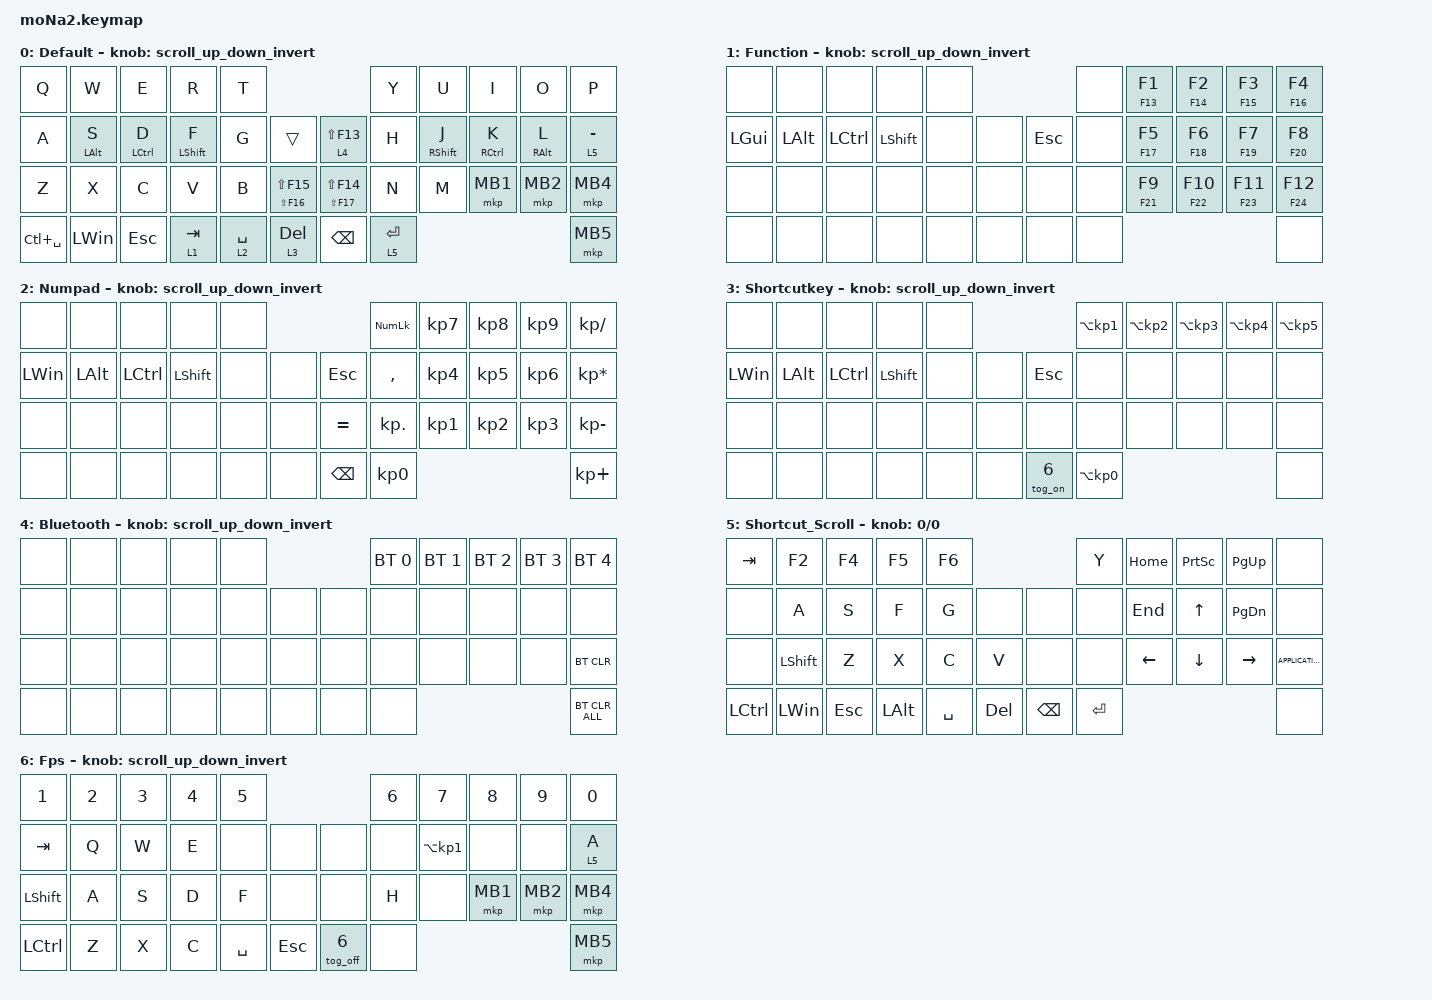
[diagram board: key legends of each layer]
#include <behaviors.dtsi>
#include <dt-bindings/zmk/bt.h>
#include <dt-bindings/zmk/keys.h>
#include <dt-bindings/zmk/pointing.h>

#define ZMK_POINTING_DEFAULT_SCRL_VAL 100
#define MOUSE 6

&mt {
    flavor = "balanced";
    quick-tap-ms = <0>;
    tapping-term-ms = <500>;
};

/ {
    combos {
        compatible = "zmk,combos";

        middleclick {
            bindings = <&mkp MB3>;
            key-positions = <32 31>;
        };

        comma_period {
            bindings = <&mt PERIOD COMMA>;
            key-positions = <18 19>;
        };

        exclamation_question {
            bindings = <&mt QUESTION EXCLAMATION>;
            key-positions = <13 12>;
        };

        single_doublequote {
            bindings = <&mt DOUBLE_QUOTES SINGLE_QUOTE>;
            key-positions = <19 20>;
        };

        semicolon_colon {
            bindings = <&mt COLON SEMICOLON>;
            key-positions = <12 11>;
        };

        hash_dollar {
            bindings = <&mt DOLLAR HASH>;
            key-positions = <11 23>;
        };

        percent_ampersand {
            bindings = <&mt AMPERSAND PERCENT>;
            key-positions = <12 24>;
        };

        underscore_equal {
            bindings = <&mt EQUAL UNDERSCORE>;
            key-positions = <13 25>;
        };

        caret_tilde {
            bindings = <&mt TILDE CARET>;
            key-positions = <14 26>;
        };

        backslash_pipe {
            bindings = <&mt PIPE BACKSLASH>;
            key-positions = <17 29>;
        };

        at_grave {
            bindings = <&mt GRAVE AT_SIGN>;
            key-positions = <18 30>;
        };

        ssterisk_slash {
            bindings = <&mt SLASH ASTERISK>;
            key-positions = <19 31>;
        };

        plus_minus {
            bindings = <&mt MINUS PLUS>;
            key-positions = <20 32>;
        };

        parenthesis {
            bindings = <&parenthesis>;
            key-positions = <4 3>;
        };

        bracket {
            bindings = <&bracket>;
            key-positions = <2 3>;
        };

        than {
            bindings = <&than>;
            key-positions = <2 1>;
        };

        brace {
            bindings = <&brace>;
            key-positions = <1 0>;
        };

        copy_cut {
            bindings = <&mt LC(X) LC(C)>;
            key-positions = <5 6>;
        };

        undo_redo {
            bindings = <&mt LC(Y) LC(Z)>;
            key-positions = <7 6>;
        };

        tab_close_open {
            bindings = <&mt LC(LS(T)) LC(F4)>;
            key-positions = <9 8>;
        };
    };

    macros {
        to_layer_0: to_layer_0 {
            compatible = "zmk,behavior-macro-one-param";
            #binding-cells = <1>;
            bindings = <&to 0 &macro_param_1to1 &kp MACRO_PLACEHOLDER>;
            label = "TO_LAYER_0";
        };

        parenthesis: parenthesis {
            compatible = "zmk,behavior-macro";
            #binding-cells = <0>;
            bindings = <&kp LEFT_PARENTHESIS &kp RIGHT_PARENTHESIS &kp LEFT_ARROW>;
            label = "PARENTHESIS";
        };

        bracket: bracket {
            compatible = "zmk,behavior-macro";
            #binding-cells = <0>;
            bindings = <&kp LEFT_BRACKET &kp RIGHT_BRACKET &kp LEFT_ARROW>;
            label = "BRACKET";
        };

        than: than {
            compatible = "zmk,behavior-macro";
            #binding-cells = <0>;
            bindings = <&kp LESS_THAN &kp GREATER_THAN &kp LEFT_ARROW>;
            label = "THAN";
        };

        brace: brace {
            compatible = "zmk,behavior-macro";
            #binding-cells = <0>;
            bindings = <&kp LEFT_BRACE &kp RIGHT_BRACE &kp LEFT_ARROW>;
            label = "BRACE";
        };
    };

    behaviors {
        lt_to_layer_0: lt_to_layer_0 {
            compatible = "zmk,behavior-hold-tap";
            label = "LAYER_TAP_TO_0";
            bindings = <&mo>, <&to_layer_0>;

            #binding-cells = <2>;
            tapping-term-ms = <200>;
        };

        scroll_up_down: behavior_sensor_rotate_mouse_wheel_up_down {
            compatible = "zmk,behavior-sensor-rotate";
            #sensor-binding-cells = <0>;
            bindings = <&msc SCRL_UP>, <&msc SCRL_DOWN>;

            tap-ms = <20>;
        };

        scroll_up_down_invert: scroll_up_down_invert {
            compatible = "zmk,behavior-sensor-rotate";
            #sensor-binding-cells = <0>;
            bindings = <&msc SCRL_DOWN>, <&msc SCRL_UP>;

            tap-ms = <20>;
            label = "SCROLL_UP_DOWN_INVERT";
        };

        tog_on: toggle_layer_on_only {
            compatible = "zmk,behavior-toggle-layer";
            #binding-cells = <1>;
            display-name = "Toggle Layer On";
            toggle-mode = "on";
        };

        tog_off: toggle_layer_off_only {
            compatible = "zmk,behavior-toggle-layer";
            #binding-cells = <1>;
            display-name = "Toggle Layer Off";
            toggle-mode = "off";
        };
    };

    keymap {
        compatible = "zmk,keymap";

        Default {
            bindings = <
&kp Q          &kp W           &kp E               &kp R             &kp T                                                    &kp Y        &kp U              &kp I                &kp O            &kp P
&kp A          &mt LEFT_ALT S  &mt LEFT_CONTROL D  &mt LEFT_SHIFT F  &kp G        &trans                 &lt 4 LS(F13)        &kp H        &mt RIGHT_SHIFT J  &mt RIGHT_CONTROL K  &mt RIGHT_ALT L  &lt 5 MINUS
&kp Z          &kp X           &kp C               &kp V             &kp B        &mt LS(F16) LS(F15)    &mt LS(F17) LS(F14)  &kp N        &kp M              &mkp MB1             &mkp MB2         &mkp MB4
&kp LC(SPACE)  &kp LEFT_WIN    &kp ESCAPE          &lt 1 TAB         &lt 2 SPACE  &lt 3 DELETE           &kp BACKSPACE        &lt 5 ENTER                                                           &mkp MB5
            >;

            sensor-bindings = <&scroll_up_down_invert>;
        };

        Function {
            bindings = <
&none     &none     &none      &none      &none                    &none  &mt F13 F1  &mt F14 F2   &mt F15 F3   &mt F16 F4
&kp LGUI  &kp LALT  &kp LCTRL  &kp LSHFT  &none  &none    &kp ESC  &none  &mt F17 F5  &mt F18 F6   &mt F19 F7   &mt F20 F8
&none     &none     &none      &none      &none  &none    &none    &none  &mt F21 F9  &mt F22 F10  &mt F23 F11  &mt F24 F12
&none     &none     &none      &none      &none  &none    &none    &none                                        &none
            >;

            sensor-bindings = <&scroll_up_down_invert>;
        };

        Numpad {
            bindings = <
&none         &none         &none             &none           &none                          &kp KP_NUMLOCK   &kp KP_NUMBER_7  &kp KP_NUMBER_8  &kp KP_NUMBER_9  &kp KP_SLASH
&kp LEFT_WIN  &kp LEFT_ALT  &kp LEFT_CONTROL  &kp LEFT_SHIFT  &none  &none    &kp ESCAPE     &kp COMMA        &kp KP_NUMBER_4  &kp KP_NUMBER_5  &kp KP_NUMBER_6  &kp KP_ASTERISK
&none         &none         &none             &none           &none  &none    &kp EQUAL      &kp KP_DOT       &kp KP_NUMBER_1  &kp KP_NUMBER_2  &kp KP_NUMBER_3  &kp KP_MINUS
&none         &none         &none             &none           &none  &none    &kp BACKSPACE  &kp KP_NUMBER_0                                                     &kp KP_PLUS
            >;

            sensor-bindings = <&scroll_up_down_invert>;
        };

        Shortcutkey {
            bindings = <
&none         &none         &none             &none           &none                       &kp LA(KP_NUMBER_1)  &kp LA(KP_NUMBER_2)  &kp LA(KP_NUMBER_3)  &kp LA(KP_NUMBER_4)  &kp LA(KP_NUMBER_5)
&kp LEFT_WIN  &kp LEFT_ALT  &kp LEFT_CONTROL  &kp LEFT_SHIFT  &none  &none    &kp ESCAPE  &none                &none                &none                &none                &none
&none         &none         &none             &none           &none  &none    &none       &none                &none                &none                &none                &none
&none         &none         &none             &none           &none  &none    &tog_on 6   &kp LA(KP_NUMBER_0)                                                                 &none
            >;

            sensor-bindings = <&scroll_up_down_invert>;
        };

        Bluetooth {
            bindings = <
&none  &none  &none  &none  &none                  &bt BT_SEL 0  &bt BT_SEL 1  &bt BT_SEL 2  &bt BT_SEL 3  &bt BT_SEL 4
&none  &none  &none  &none  &none  &none    &none  &none         &none         &none         &none         &none
&none  &none  &none  &none  &none  &none    &none  &none         &none         &none         &none         &bt BT_CLR
&none  &none  &none  &none  &none  &none    &none  &none                                                   &bt BT_CLR_ALL
            >;

            sensor-bindings = <&scroll_up_down_invert>;
        };

        Shortcut_Scroll {
            bindings = <
&kp TAB           &kp F2          &kp F4      &kp F5        &kp F6                                  &kp Y      &kp HOME        &kp PRINTSCREEN  &kp PAGE_UP      &none
&none             &kp A           &kp S       &kp F         &kp G      &none         &none          &none      &kp END         &kp UP_ARROW     &kp PAGE_DOWN    &none
&none             &kp LEFT_SHIFT  &kp Z       &kp X         &kp C      &kp V         &none          &none      &kp LEFT_ARROW  &kp DOWN_ARROW   &kp RIGHT_ARROW  &kp K_APPLICATION
&kp LEFT_CONTROL  &kp LEFT_WIN    &kp ESCAPE  &kp LEFT_ALT  &kp SPACE  &kp DELETE    &kp BACKSPACE  &kp ENTER                                                    &none
            >;

            sensor-bindings = <&inc_dec_kp 0 0>;
        };

        Fps {
            bindings = <
&kp N1            &kp N2  &kp N3  &kp N4  &kp N5                               &kp N6  &kp N7               &kp N8    &kp N9    &kp N0
&kp TAB           &kp Q   &kp W   &kp E   &none      &none         &none       &none   &kp LA(KP_NUMBER_1)  &none     &none     &lt 5 A
&kp LEFT_SHIFT    &kp A   &kp S   &kp D   &kp F      &none         &none       &kp H   &none                &mkp MB1  &mkp MB2  &mkp MB4
&kp LEFT_CONTROL  &kp Z   &kp X   &kp C   &kp SPACE  &kp ESCAPE    &tog_off 6  &none                                            &mkp MB5
            >;

            sensor-bindings = <&scroll_up_down_invert>;
        };
    };
};
